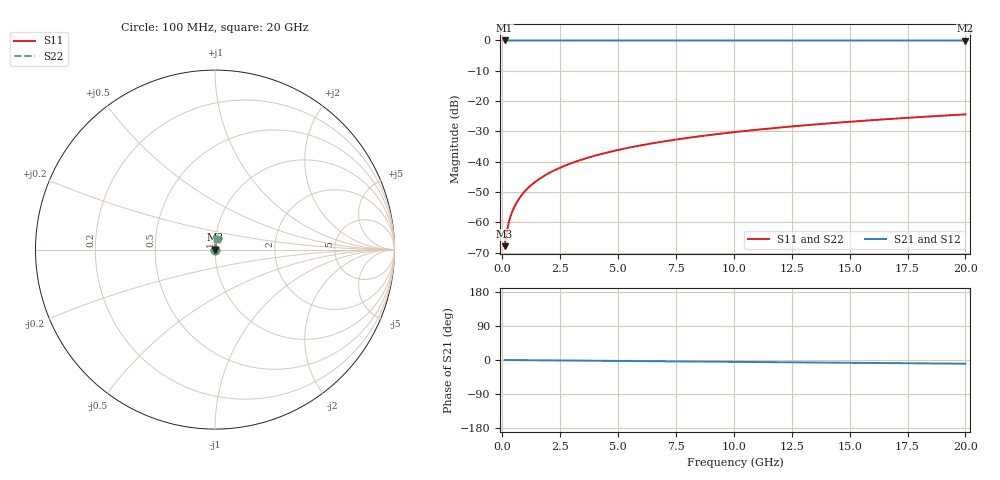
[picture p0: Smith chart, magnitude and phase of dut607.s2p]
! Touchstone file exported from HFSS 2026.1.0
!  File:  C:/ffzhzh/LocalFiles/Ansys_Project_Files/temp_train_TSV_607_1783025616_51716.aedt
!  Generated:  04:55:32 AM Jul  3, 2026
!  Design:  TSV
!  Project:  temp_train_TSV_607_1783025616_51716
! Variables:
!  h_bsmrdl = 2um
!  h_ox = 20um
!  h_rdl = 5um
!  h_sub = 89.27um
!  h_tmrdl = 5um
!  h_tsv = 89.27um
!  h_via = 3um
!  l_bsmrdl = 300um
!  l_sub = 415.36um
!  l_tmrdl = 200um
!  m_sub = 200um
!  pitch = 51.11um
!  r_tsv = 7.68um
!  s_tmrdl = 10um
!  w_bsmrdl = 18um
!  w_sub = 500um
!  w_tmrdl = 12um
!  x_tsv_center1 = 206um
!  x_tsv_center2 = 524um
!  x_tsv_center3 = 736um
!  x_tsv_center4 = 1054um
!  x_tsv_center5 = 1266um
!  x_tsv_center6 = 1584um
# GHz S MA R 50.000000
! Terminal data exported
! Port[1] = TSV1_1_T1
! Port[2] = TSV1_1_T2
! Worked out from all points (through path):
!   200 points, 100 MHz to 20 GHz, reference 50 ohm
!   highest |S21| = 0.00 dB at 100 MHz (marker M1); lowest = 0.0 dB at 20 GHz (marker M2)
!   group delay of S21, straight-line fit = 1.35 ps
!   lowest |S11| = -67.8 dB at 100 MHz (marker M3), VSWR 1.00, Z = 50 + j0.0349 ohm
!   |S11| at or under -10 dB: start of sweep to end of sweep
!   |S22| runs from -67.8 to -24.4 dB; largest |S21 - S12| = 3.3e-15
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0.1  0.0004064 59.3  0.9998 -0.1  0.9998 -0.1  0.0004064 59.3
! Gamma 0 0 0 0
! Port Impedance 50 0 50 0
0.2  0.0007302 72.6  0.9998 -0.1  0.9998 -0.1  0.0007302 72.6
0.3  0.001067 77.2  0.9998 -0.2  0.9998 -0.2  0.001067 77.2
0.4  0.001404 79.4  0.9997 -0.2  0.9997 -0.2  0.001404 79.4
0.5  0.001737 80.6  0.9997 -0.3  0.9997 -0.3  0.001737 80.6
0.6  0.002067 81.4  0.9997 -0.3  0.9997 -0.3  0.002067 81.4
0.7  0.002392 81.9  0.9997 -0.4  0.9997 -0.4  0.002392 81.9
0.8  0.002714 82.2  0.9996 -0.4  0.9996 -0.4  0.002714 82.2
1  0.003349 82.8  0.9996 -0.5  0.9996 -0.5  0.003349 82.8
1.4  0.0046 83.5  0.9995 -0.7  0.9995 -0.7  0.0046 83.5
1.7  0.00553 83.9  0.9995 -0.8  0.9995 -0.8  0.00553 83.9
2  0.006457 84.2  0.9994 -1.0  0.9994 -1.0  0.006457 84.2
2.7  0.008617 84.6  0.9993 -1.3  0.9993 -1.3  0.008617 84.6
3.5  0.01108 84.7  0.9992 -1.7  0.9992 -1.7  0.01108 84.7
4.2  0.01322 84.6  0.9992 -2.1  0.9992 -2.1  0.01322 84.6
5  0.01567 84.5  0.999 -2.5  0.999 -2.5  0.01567 84.5
6.8  0.02113 84.0  0.9988 -3.3  0.9988 -3.3  0.02113 84.0
8.3  0.02565 83.5  0.9986 -4.1  0.9986 -4.1  0.02565 83.5
10.1  0.03106 82.9  0.9983 -4.9  0.9983 -4.9  0.03106 82.9
13.4  0.04092 81.6  0.9978 -6.6  0.9978 -6.6  0.04092 81.6
16.7  0.05071 80.1  0.9972 -8.2  0.9972 -8.2  0.05071 80.1
20  0.0604 78.7  0.9965 -9.7  0.9965 -9.7  0.0604 78.7
